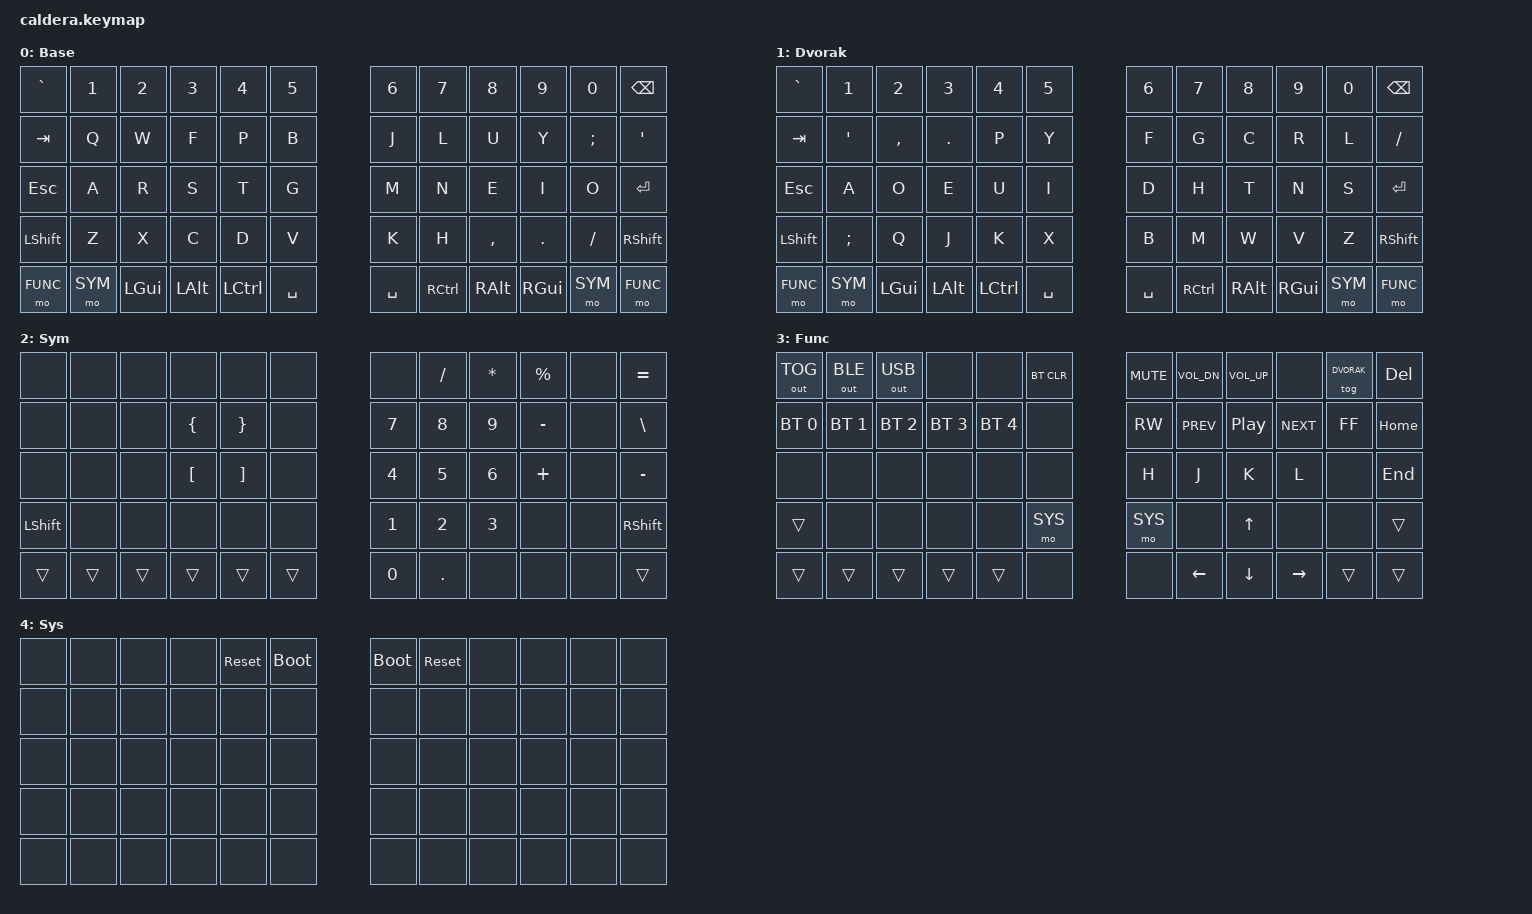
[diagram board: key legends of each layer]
/*
 * Copyright (c) 2020 The ZMK Contributors
 *
 * SPDX-License-Identifier: MIT
 */
 
 #include <behaviors.dtsi>
 #include <dt-bindings/zmk/keys.h>
 #include <dt-bindings/zmk/bt.h>
 #include <dt-bindings/zmk/outputs.h>
 
 #define DEFAULT 0
 #define DVORAK  1
 #define SYM     2
 #define FUNC    3
 #define SYS     4
 
 / {
         keymap {
                 compatible = "zmk,keymap";
 
                 default_layer {
                         display-name = "Base";
  /*
  +-------+-------+-------+-------+-------+-------+       +-------+-------+-------+-------+-------+-------+
  |   `   |   1   |   2   |   3   |   4   |   5   |       |   6   |   7   |   8   |   9   |   0   | BKSP  |
  +-------+-------+-------+-------+-------+-------+       +-------+-------+-------+-------+-------+-------+
  |  TAB  |   Q   |   W   |   F   |   P   |   B   |       |   J   |   L   |   U   |   Y   |   ;   |   '   |
  +-------+-------+-------+-------+-------+-------+       +-------+-------+-------+-------+-------+-------+
  |  ESC  |   A   |   R   |   S   |   T   |   G   |       |   M   |   N   |   E   |   I   |   O   | ENTER |
  +-------+-------+-------+-------+-------+-------+       +-------+-------+-------+-------+-------+-------+
  | SHIFT |   Z   |   X   |   C   |   D   |   V   |       |   K   |   H   |   ,   |   .   |   /   | RSHFT |
  +-------+-------+-------+-------+-------+-------+       +-------+-------+-------+-------+-------+-------+
  | FUNC  |  SYM  |  GUI  |  ALT  | CTRL  | SPACE |       | SPACE | CTRL  |  ALT  |  GUI  |  SYM  | FUNC  |
  +-------+-------+-------+-------+-------+-------+       +-------+-------+-------+-------+-------+-------+
  */
                         bindings = <
     &kp GRAVE     &kp N1      &kp N2      &kp N3      &kp N4      &kp N5                  &kp N6      &kp N7      &kp N8      &kp N9      &kp N0      &kp BSPC
     &kp TAB       &kp Q       &kp W       &kp F       &kp P       &kp B                   &kp J       &kp L       &kp U       &kp Y       &kp SEMI    &kp APOS
     &kp ESC       &kp A       &kp R       &kp S       &kp T       &kp G                   &kp M       &kp N       &kp E       &kp I       &kp O       &kp ENTER
     &kp LSHFT     &kp Z       &kp X       &kp C       &kp D       &kp V                   &kp K       &kp H       &kp COMMA   &kp DOT     &kp FSLH    &kp RSHFT
     &mo FUNC      &mo SYM     &kp LGUI    &kp LALT    &kp LCTRL   &kp SPACE               &kp SPACE   &kp RCTRL   &kp RALT    &kp RGUI    &mo SYM     &mo FUNC 
                         >;
                 };
 
                 dvorak_layer {
                         display-name = "Dvorak";
  /*
  +-------+-------+-------+-------+-------+-------+       +-------+-------+-------+-------+-------+-------+
  |   `   |   1   |   2   |   3   |   4   |   5   |       |   6   |   7   |   8   |   9   |   0   | BKSP  |
  +-------+-------+-------+-------+-------+-------+       +-------+-------+-------+-------+-------+-------+
  |  TAB  |   '   |   ,   |   .   |   P   |   Y   |       |   F   |   G   |   C   |   R   |   L   |   /   |
  +-------+-------+-------+-------+-------+-------+       +-------+-------+-------+-------+-------+-------+
  |  ESC  |   A   |   O   |   E   |   U   |   I   |       |   D   |   H   |   T   |   N   |   S   | ENTER |
  +-------+-------+-------+-------+-------+-------+       +-------+-------+-------+-------+-------+-------+
  | SHIFT |   ;   |   Q   |   J   |   K   |   X   |       |   B   |   M   |   W   |   V   |   Z   | SHIFT |
  +-------+-------+-------+-------+-------+-------+       +-------+-------+-------+-------+-------+-------+
  | FUNC  |  SYM  |  GUI  |  ALT  | CTRL  | SPACE |       | SPACE | CTRL  |  ALT  |  GUI  |  SYM  | FUNC  |
  +-------+-------+-------+-------+-------+-------+       +-------+-------+-------+-------+-------+-------+
  */
                         bindings = <
     &kp GRAVE     &kp N1      &kp N2      &kp N3      &kp N4      &kp N5                  &kp N6      &kp N7      &kp N8      &kp N9      &kp N0      &kp BKSP
     &kp TAB       &kp APOS    &kp COMMA   &kp DOT     &kp P       &kp Y                   &kp F       &kp G       &kp C       &kp R       &kp L       &kp FSLH
     &kp ESC       &kp A       &kp O       &kp E       &kp U       &kp I                   &kp D       &kp H       &kp T       &kp N       &kp S       &kp ENTER
     &kp LSHFT     &kp SEMI    &kp Q       &kp J       &kp K       &kp X                   &kp B       &kp M       &kp W       &kp V       &kp Z       &kp RSHFT
     &mo FUNC      &mo SYM     &kp LGUI    &kp LALT    &kp LCTRL   &kp SPACE               &kp SPACE   &kp RCTRL   &kp RALT    &kp RGUI    &mo SYM     &mo FUNC 
                         >;
                 };
 
                 symbol_layer {
                         display-name = "Sym";
  /*
  +-------+-------+-------+-------+-------+-------+       +-------+-------+-------+-------+-------+-------+
  |       |       |       |       |       |       |       |       |   /   |   *   |   %   |       |   =   |
  +-------+-------+-------+-------+-------+-------+       +-------+-------+-------+-------+-------+-------+
  |       |       |       |   {   |   }   |       |       |   7   |   8   |   9   |   -   |       |   \   |
  +-------+-------+-------+-------+-------+-------+       +-------+-------+-------+-------+-------+-------+
  |       |       |       |   [   |   ]   |       |       |   4   |   5   |   6   |   +   |       |   -   |
  +-------+-------+-------+-------+-------+-------+       +-------+-------+-------+-------+-------+-------+
  | SHIFT |       |       |       |       |       |       |   1   |   2   |   3   |       |       | SHIFT |
  +-------+-------+-------+-------+-------+-------+       +-------+-------+-------+-------+-------+-------+
  |       |       |       |       |       |       |       |   0   |   .   |       |       |       |       |
  +-------+-------+-------+-------+-------+-------+       +-------+-------+-------+-------+-------+-------+
  */
                         bindings = <
     &none         &none       &none       &none       &none       &none                   &none       &kp FSLH    &kp STAR    &kp PRCNT   &none       &kp EQUAL
     &none         &none       &none       &kp LBRC    &kp RBRC    &none                   &kp N7      &kp N8      &kp N9      &kp MINUS   &none       &kp BSLH
     &none         &none       &none       &kp LBKT    &kp RBKT    &none                   &kp N4      &kp N5      &kp N6      &kp PLUS    &none       &kp MINUS
     &kp LSHFT     &none       &none       &none       &none       &none                   &kp N1      &kp N2      &kp N3      &none       &none       &kp RSHFT
     &trans        &trans      &trans      &trans      &trans      &trans                  &kp N0      &kp DOT     &none       &none       &none       &trans
                         >;
                 };
 
                 function_layer {
                         display-name = "Func";
  /*
  +-------+-------+-------+-------+-------+-------+       +-------+-------+-------+-------+-------+-------+
  |  TOGL |  BLE  |  USB  |       |       | BTCLR |       |  MUTE | VOL-  | VOL+  |       | DVORK |  DEL  |
  +-------+-------+-------+-------+-------+-------+       +-------+-------+-------+-------+-------+-------+
  |  BT0  |  BT1  |  BT2  |  BT3  |  BT4  |       |       |  RW   | PREV  | PLAY  | NEXT  |  FF   |  HOME |
  +-------+-------+-------+-------+-------+-------+       +-------+-------+-------+-------+-------+-------+
  |       |       |       |       |       |       |       |   H   |   J   |   K   |   L   |       |  END  |
  +-------+-------+-------+-------+-------+-------+       +-------+-------+-------+-------+-------+-------+
  |       |       |       |       |       |  SYS  |       |  SYS  |       |   ↑   |       |       |       |
  +-------+-------+-------+-------+-------+-------+       +-------+-------+-------+-------+-------+-------+
  |       |       |       |       |       |       |       |       |   ←   |   ↓   |   →   |       |       |
  +-------+-------+-------+-------+-------+-------+       +-------+-------+-------+-------+-------+-------+
  */
                         bindings = <
     &out OUT_TOG &out OUT_BLE &out OUT_USB &none        &none        &bt BT_CLR           &kp C_MUTE  &kp C_VOL_DN &kp C_VOL_UP &none       &tog DVORAK &kp DELETE
     &bt BT_SEL 0 &bt BT_SEL 1 &bt BT_SEL 2 &bt BT_SEL 3 &bt BT_SEL 4 &none                &kp C_RW    &kp C_PREV   &kp C_PP     &kp C_NEXT  &kp C_FF    &kp HOME
     &none        &none        &none        &none        &none        &none                &kp H       &kp J        &kp K        &kp L       &none       &kp END
     &trans       &none        &none        &none        &none        &mo SYS              &mo SYS     &none        &kp UP       &none       &none       &trans
     &trans       &trans       &trans       &trans       &trans       &none                &none       &kp LEFT     &kp DOWN     &kp RIGHT   &trans      &trans
                         >;
                 };
 
                 system_layer {
                         display-name = "Sys";
  /*
  +-------+-------+-------+-------+-------+-------+       +-------+-------+-------+-------+-------+-------+
  |       |       |       |       | BOOT  | RESET |       | BOOT  | RESET |       |       |       |       |
  +-------+-------+-------+-------+-------+-------+       +-------+-------+-------+-------+-------+-------+
  |       |       |       |       |       |       |       |       |       |       |       |       |       |
  +-------+-------+-------+-------+-------+-------+       +-------+-------+-------+-------+-------+-------+
  |       |       |       |       |       |       |       |       |       |       |       |       |       |
  +-------+-------+-------+-------+-------+-------+       +-------+-------+-------+-------+-------+-------+
  |       |       |       |       |       |       |       |       |       |       |       |       |       |
  +-------+-------+-------+-------+-------+-------+       +-------+-------+-------+-------+-------+-------+
  |       |       |       |       |       |       |       |       |       |       |       |       |       |
  +-------+-------+-------+-------+-------+-------+       +-------+-------+-------+-------+-------+-------+
  */
                         bindings = <
     &none        &none        &none        &none        &sys_reset   &bootloader          &bootloader  &sys_reset   &none        &none        &none        &none
     &none        &none        &none        &none        &none        &none                &none        &none        &none        &none        &none        &none
     &none        &none        &none        &none        &none        &none                &none        &none        &none        &none        &none        &none
     &none        &none        &none        &none        &none        &none                &none        &none        &none        &none        &none        &none
     &none        &none        &none        &none        &none        &none                &none        &none        &none        &none        &none        &none
                         >;
                 };
         };
 };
